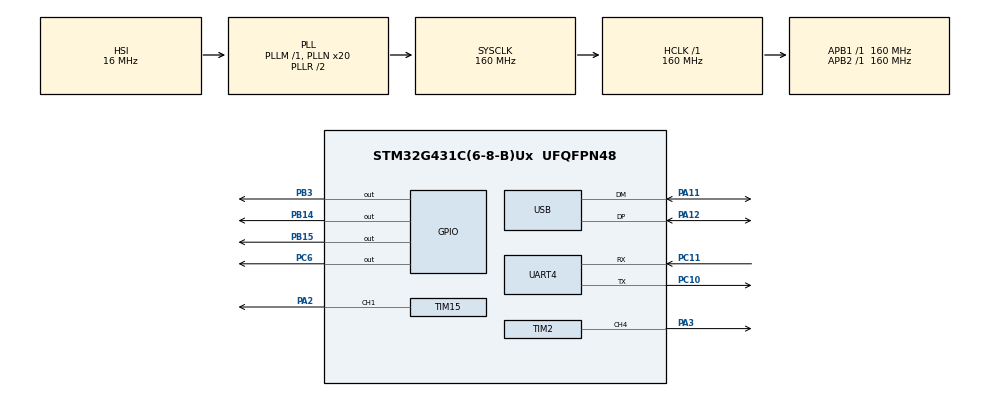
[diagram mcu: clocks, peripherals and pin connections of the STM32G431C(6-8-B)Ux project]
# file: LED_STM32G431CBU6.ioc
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Dma.Request0=TIM15_CH1
Dma.Request1=TIM2_CH4
Dma.Request2=UART4_RX
Dma.TIM15_CH1.0.Direction=DMA_MEMORY_TO_PERIPH
Dma.TIM15_CH1.0.EventEnable=DISABLE
Dma.TIM15_CH1.0.Instance=DMA1_Channel1
Dma.TIM15_CH1.0.MemDataAlignment=DMA_MDATAALIGN_HALFWORD
Dma.TIM15_CH1.0.MemInc=DMA_MINC_ENABLE
Dma.TIM15_CH1.0.Mode=DMA_NORMAL
Dma.TIM15_CH1.0.PeriphDataAlignment=DMA_PDATAALIGN_HALFWORD
Dma.TIM15_CH1.0.PeriphInc=DMA_PINC_DISABLE
Dma.TIM15_CH1.0.Polarity=HAL_DMAMUX_REQ_GEN_RISING
Dma.TIM15_CH1.0.Priority=DMA_PRIORITY_LOW
Dma.TIM15_CH1.0.RequestNumber=1
Dma.TIM15_CH1.0.SignalID=NONE
Dma.TIM15_CH1.0.SyncEnable=DISABLE
Dma.TIM15_CH1.0.SyncPolarity=HAL_DMAMUX_SYNC_NO_EVENT
Dma.TIM15_CH1.0.SyncRequestNumber=1
Dma.TIM15_CH1.0.SyncSignalID=NONE
Dma.TIM2_CH4.1.Direction=DMA_MEMORY_TO_PERIPH
Dma.TIM2_CH4.1.EventEnable=DISABLE
Dma.TIM2_CH4.1.Instance=DMA1_Channel2
Dma.TIM2_CH4.1.MemDataAlignment=DMA_MDATAALIGN_WORD
Dma.TIM2_CH4.1.MemInc=DMA_MINC_ENABLE
Dma.TIM2_CH4.1.Mode=DMA_NORMAL
Dma.TIM2_CH4.1.PeriphDataAlignment=DMA_PDATAALIGN_WORD
Dma.TIM2_CH4.1.PeriphInc=DMA_PINC_DISABLE
Dma.TIM2_CH4.1.Polarity=HAL_DMAMUX_REQ_GEN_RISING
Dma.TIM2_CH4.1.Priority=DMA_PRIORITY_LOW
Dma.TIM2_CH4.1.RequestNumber=1
Dma.TIM2_CH4.1.SignalID=NONE
Dma.TIM2_CH4.1.SyncEnable=DISABLE
Dma.TIM2_CH4.1.SyncPolarity=HAL_DMAMUX_SYNC_NO_EVENT
Dma.TIM2_CH4.1.SyncRequestNumber=1
Dma.TIM2_CH4.1.SyncSignalID=NONE
Dma.UART4_RX.2.Direction=DMA_PERIPH_TO_MEMORY
Dma.UART4_RX.2.EventEnable=DISABLE
Dma.UART4_RX.2.Instance=DMA1_Channel3
Dma.UART4_RX.2.MemDataAlignment=DMA_MDATAALIGN_BYTE
Dma.UART4_RX.2.MemInc=DMA_MINC_ENABLE
Dma.UART4_RX.2.Mode=DMA_NORMAL
Dma.UART4_RX.2.PeriphDataAlignment=DMA_PDATAALIGN_BYTE
Dma.UART4_RX.2.PeriphInc=DMA_PINC_DISABLE
Dma.UART4_RX.2.Polarity=HAL_DMAMUX_REQ_GEN_RISING
Dma.UART4_RX.2.Priority=DMA_PRIORITY_MEDIUM
Dma.UART4_RX.2.RequestNumber=1
Dma.UART4_RX.2.SignalID=NONE
Dma.UART4_RX.2.SyncEnable=DISABLE
Dma.UART4_RX.2.SyncPolarity=HAL_DMAMUX_SYNC_NO_EVENT
Dma.UART4_RX.2.SyncRequestNumber=1
Dma.UART4_RX.2.SyncSignalID=NONE
Mcu.Family=STM32G4
Mcu.Name=STM32G431C(6-8-B)Ux
Mcu.Package=UFQFPN48
NVIC.DMA1_Channel1_IRQn=true\:0\:0\:false\:false\:true\:false\:true\:true
NVIC.DMA1_Channel2_IRQn=true\:0\:0\:false\:false\:true\:false\:true\:true
NVIC.DMA1_Channel3_IRQn=true\:0\:0\:false\:false\:true\:false\:true\:true
NVIC.PriorityGroup=NVIC_PRIORITYGROUP_4
NVIC.TIM1_BRK_TIM15_IRQn=true\:0\:0\:false\:false\:true\:true\:true\:true
NVIC.TIM2_IRQn=true\:0\:0\:false\:false\:true\:true\:true\:true
NVIC.TIM6_DAC_IRQn=true\:0\:0\:false\:false\:true\:true\:true\:true
NVIC.UART4_IRQn=true\:0\:0\:false\:false\:true\:true\:true\:true
PA11.Mode=Device
PA11.Signal=USB_DM
PA12.Mode=Device
PA12.Signal=USB_DP
PA13.Mode=Serial_Wire
PA13.Signal=SYS_JTMS-SWDIO
PA14.Mode=Serial_Wire
PA14.Signal=SYS_JTCK-SWCLK
PA2.Signal=S_TIM15_CH1
PA3.Signal=S_TIM2_CH4
PB14.GPIO_PuPd=GPIO_PULLDOWN
PB14.GPIO_Speed=GPIO_SPEED_FREQ_HIGH
PB14.Signal=GPIO_Output
PB15.GPIO_PuPd=GPIO_PULLDOWN
PB15.GPIO_Speed=GPIO_SPEED_FREQ_HIGH
PB15.Signal=GPIO_Output
PB3.GPIO_PuPd=GPIO_PULLDOWN
PB3.GPIO_Speed=GPIO_SPEED_FREQ_HIGH
PB3.Signal=GPIO_Output
PC10.Mode=Asynchronous
PC10.Signal=UART4_TX
PC11.Mode=Asynchronous
PC11.Signal=UART4_RX
PC6.GPIO_PuPd=GPIO_PULLDOWN
PC6.GPIO_Speed=GPIO_SPEED_FREQ_HIGH
PC6.Signal=GPIO_Output
PF0-OSC_IN.Mode=HSE-External-Oscillator
PF0-OSC_IN.Signal=RCC_OSC_IN
PF1-OSC_OUT.Mode=HSE-External-Oscillator
PF1-OSC_OUT.Signal=RCC_OSC_OUT
ProjectManager.HeapSize=0x200
ProjectManager.StackSize=0x400
ProjectManager.TargetToolchain=STM32CubeIDE
RCC.ADC12Freq_Value=160000000
RCC.AHBFreq_Value=160000000
RCC.APB1Freq_Value=160000000
RCC.APB1TimFreq_Value=160000000
RCC.APB2Freq_Value=160000000
RCC.APB2TimFreq_Value=160000000
RCC.CK48CLockSelection=RCC_USBCLKSOURCE_HSI48
RCC.CortexFreq_Value=160000000
RCC.EXTERNAL_CLOCK_VALUE=12288000
RCC.HCLKFreq_Value=160000000
RCC.HSE_VALUE=8000000
RCC.HSI48_VALUE=48000000
RCC.HSI_VALUE=16000000
RCC.LSE_VALUE=32768
RCC.PLLN=20
RCC.PLLQ=RCC_PLLQ_DIV4
RCC.SYSCLKFreq_VALUE=160000000
RCC.SYSCLKSource=RCC_SYSCLKSOURCE_PLLCLK
RCC.USBFreq_Value=48000000
RCC.VCOOutputFreq_Value=320000000
SH.S_TIM15_CH1.0=TIM15_CH1,PWM Generation1 CH1
SH.S_TIM2_CH4.0=TIM2_CH4,PWM Generation4 CH4
TIM15.Channel-PWM\ Generation1\ CH1=TIM_CHANNEL_1
TIM15.PeriodNoDither=100-1
TIM15.Prescaler=1
TIM2.Channel-PWM\ Generation4\ CH4=TIM_CHANNEL_4
TIM2.PeriodNoDither=100-1
TIM2.Prescaler=1
TIM2.PulseNoDither_4=33
TIM6.PeriodNoDither=999
TIM6.Prescaler=159
VP_SYS_VS_DBSignals.Mode=DisableDeadBatterySignals
VP_TIM15_VS_ClockSourceINT.Mode=Internal
VP_TIM2_VS_ClockSourceINT.Mode=Internal
VP_TIM6_VS_ClockSourceINT.Mode=Enable_Timer
board=custom

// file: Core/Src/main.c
/* USER CODE BEGIN Header */
/**
  ******************************************************************************
  * @file           : main.c
  * @brief          : Main program body
  ******************************************************************************
  * @attention
  *
  * Copyright (c) 2026 STMicroelectronics.
  * All rights reserved.
  *
  * This software is licensed under terms that can be found in the LICENSE file
  * in the root directory of this software component.
  * If no LICENSE file comes with this software, it is provided AS-IS.
  *
  ******************************************************************************
  */
/* USER CODE END Header */
#include "main.h"

/* USER CODE BEGIN Includes */
#include "ws2812.h"
#include <string.h>
/* USER CODE END Includes */

/* USER CODE BEGIN PD */
#define RS485_HEADER       0x55AA
#define RS485_RX_BUF_SIZE  32
#define UART_TIMEOUT_MS    10000   /* 10 seconds - timeout to detect USB disconnection */
#define WATCHDOG_TIMEOUT_MS 2000   /* 2 second watchdog - reset if main loop hangs */
/* USER CODE END PD */

TIM_HandleTypeDef htim2;
TIM_HandleTypeDef htim6;
TIM_HandleTypeDef htim15;
DMA_HandleTypeDef hdma_tim2_ch4;
DMA_HandleTypeDef hdma_tim15_ch1;

UART_HandleTypeDef huart4;
DMA_HandleTypeDef hdma_uart4_rx;

PCD_HandleTypeDef hpcd_USB_FS;

/* USER CODE BEGIN PV */
static WS2812_t LED_channel_A;  /* TIM15_CH1 on PA2 */
static WS2812_t LED_channel_B;  /* TIM2_CH4  on PA3 */

static volatile uint32_t ms_cnt = 0;
static volatile uint8_t led_flag = 0;

static uint8_t rs485_rx_buf[RS485_RX_BUF_SIZE];
static volatile uint32_t last_uart_rx_time = 0;  /* Timestamp of last successful UART reception */
static volatile uint8_t uart_recovery_needed = 0;  /* Flag to trigger UART recovery */
static volatile uint32_t uart_packet_count = 0;  /* Debug: count received packets */
static volatile uint32_t last_main_loop_tick = 0;  /* Watchdog: last main loop tick */

#define NUM_LEDS_CH_A  200
#define NUM_LEDS_CH_B  200
/* USER CODE END PV */

void SystemClock_Config(void);
static void MX_GPIO_Init(void);
static void MX_DMA_Init(void);
static void MX_TIM6_Init(void);
static void MX_TIM15_Init(void);
static void MX_TIM2_Init(void);
static void MX_UART4_Init(void);
static void MX_USB_PCD_Init(void);

int main(void)
{

  /* MCU Configuration--------------------------------------------------------*/

  /* Reset of all peripherals, Initializes the Flash interface and the Systick. */
  HAL_Init();

  /* Configure the system clock */
  SystemClock_Config();

  /* Initialize all configured peripherals */
  MX_GPIO_Init();
  MX_DMA_Init();
  MX_TIM6_Init();
  MX_TIM15_Init();
  MX_TIM2_Init();
  MX_UART4_Init();
  MX_USB_PCD_Init();
  /* USER CODE BEGIN 2 */

  /* Channel A: TIM15_CH1 (PA2) */
  WS2812_Init(&LED_channel_A, &htim15, TIM_CHANNEL_1, NUM_LEDS_CH_A);
  WS2812_SetColor(&LED_channel_A, 1, 1, 120);   /* Blue dominant */
  HAL_Delay(1);
  WS2812_Update(&LED_channel_A);

  /* Channel B: TIM2_CH4 (PA3) */
  WS2812_Init(&LED_channel_B, &htim2, TIM_CHANNEL_4, NUM_LEDS_CH_B);
  WS2812_SetColor(&LED_channel_B, 1, 1, 120);   /* Red dominant */
  HAL_Delay(1);
  WS2812_Update(&LED_channel_B);

  /* Start TIM6 in interrupt mode for 1 ms periodic tick */
  HAL_TIM_Base_Start_IT(&htim6);

  /* RS485 direction pin PA11: output push-pull, default LOW (receive mode) */
  {
    GPIO_InitTypeDef gpio = {0};
    gpio.Pin   = GPIO_PIN_11;
    gpio.Mode  = GPIO_MODE_OUTPUT_PP;
    gpio.Pull  = GPIO_PULLDOWN;
    gpio.Speed = GPIO_SPEED_FREQ_HIGH;
    HAL_GPIO_Init(GPIOA, &gpio);
    HAL_GPIO_WritePin(GPIOA, GPIO_PIN_11, GPIO_PIN_RESET);  /* RX mode */
  }

  /* Initialize last UART RX time to current time (prevents immediate timeout) */
  last_uart_rx_time = 0;

  /* Start UART4 DMA receive with idle-line detection */
  HAL_UARTEx_ReceiveToIdle_DMA(&huart4, rs485_rx_buf, RS485_RX_BUF_SIZE);

  /* Initialize watchdog tick */
  last_main_loop_tick = 0;

  /* USER CODE END 2 */

  /* Infinite loop */
  while (1)
  {

    /* USER CODE BEGIN 3 */

    /* Refresh watchdog - this prevents auto-reset */
    last_main_loop_tick = ms_cnt;

    /* Check if main loop has stalled (watchdog trigger) */
    if ((ms_cnt - last_main_loop_tick) > WATCHDOG_TIMEOUT_MS)
    {
      /* Main loop stalled for 2 seconds - attempt emergency recovery */
      /* Stop DMA */
      HAL_UART_DMAStop(&huart4);

      /* Clear flags */
      __HAL_UART_CLEAR_FEFLAG(&huart4);
      __HAL_UART_CLEAR_NEFLAG(&huart4);
      __HAL_UART_CLEAR_OREFLAG(&huart4);
      __HAL_UART_CLEAR_PEFLAG(&huart4);

      /* Wait a bit */
      HAL_Delay(50);

      /* Clear buffer */
      memset(rs485_rx_buf, 0, RS485_RX_BUF_SIZE);

      /* Restart */
      HAL_UARTEx_ReceiveToIdle_DMA(&huart4, rs485_rx_buf, RS485_RX_BUF_SIZE);

      /* Reset counters */
      last_uart_rx_time = ms_cnt;
      last_main_loop_tick = ms_cnt;
    }

    /* Only do recovery if explicitly flagged by error callback */
    /* This prevents disrupting USB CDC with unnecessary resets */
    if (uart_recovery_needed)
    {
      /* UART error detected, attempt graceful recovery */
      uart_recovery_needed = 0;

      /* Stop current DMA reception */
      HAL_UART_DMAStop(&huart4);

      /* Clear any error flags */
      __HAL_UART_CLEAR_FEFLAG(&huart4);
      __HAL_UART_CLEAR_NEFLAG(&huart4);
      __HAL_UART_CLEAR_OREFLAG(&huart4);
      __HAL_UART_CLEAR_PEFLAG(&huart4);

      /* Small delay before re-arming */
      HAL_Delay(10);

      /* Clear RX buffer */
      memset(rs485_rx_buf, 0, RS485_RX_BUF_SIZE);

      /* Restart DMA receive */
      HAL_UARTEx_ReceiveToIdle_DMA(&huart4, rs485_rx_buf, RS485_RX_BUF_SIZE);

      /* Reset timeout counter */
      last_uart_rx_time = ms_cnt;
    }

    /* Check for extended timeout (device really disconnected) */
    if ((ms_cnt - last_uart_rx_time) > UART_TIMEOUT_MS)
    {
      /* No data for 10 seconds - assume real disconnection */
      /* Just log it but don't disrupt UART (user will check manually) */
      last_uart_rx_time = ms_cnt;  /* Reset timer to avoid repeated resets */
    }

    if (led_flag)
    {
      WS2812_Update(&LED_channel_A);
      WS2812_Update(&LED_channel_B);

      HAL_GPIO_TogglePin(GPIOB, GPIO_PIN_14);
      HAL_GPIO_TogglePin(GPIOB, GPIO_PIN_15);
      HAL_GPIO_TogglePin(GPIOC, GPIO_PIN_6);
      led_flag = 0;
    }
  }
  /* USER CODE END 3 */
}

/* ... (other functions remain the same: SystemClock_Config, MX_TIM2_Init, etc.) ... */

/* USER CODE BEGIN 4 */

/**
  * @brief  Period elapsed callback (TIM6 fires every 1 ms).
  */
void HAL_TIM_PeriodElapsedCallback(TIM_HandleTypeDef *htim)
{
  if (htim->Instance == TIM6)
  {
    if (++ms_cnt % 5000 == 0)
      led_flag = 1;
  }
}

/**
  * @brief  PWM DMA transfer complete callback.
  *         Stops PWM+DMA so the WS2812 line stays low (reset).
  */
void HAL_TIM_PWM_PulseFinishedCallback(TIM_HandleTypeDef *htim)
{
  WS2812_DMACompleteCallback(htim);
}

/**
  * @brief  UART Rx event callback (idle-line detected after DMA reception).
  *         Parses the RS485 protocol and updates LED colors with timeout recovery.
  */
void HAL_UARTEx_RxEventCallback(UART_HandleTypeDef *huart, uint16_t Size)
{
  if (huart->Instance == UART4)
  {
    /* Update last RX time - connection is alive */
    last_uart_rx_time = ms_cnt;

    /* Watchdog refresh */
    last_main_loop_tick = ms_cnt;

    /* Only process if we have complete packet: 0xAA 0x55 + CH + R + G + B + CRC = 7 bytes min */
    if (Size >= 7 && Size <= RS485_RX_BUF_SIZE)
    {
      /* Scan buffer for 0xAA 0x55 header - safely check boundaries */
      uint8_t start_idx = 0xFF;

      for (uint16_t i = 0; i <= (Size - 7); i++)
      {
        if (rs485_rx_buf[i] == 0xAA && rs485_rx_buf[i + 1] == 0x55)
        {
          start_idx = i;
          break;
        }
      }

      if (start_idx != 0xFF)
      {
        /* Packet format: [0xAA][0x55][CHANNEL][R][G][B][CHECKSUM] */
        uint8_t channel = rs485_rx_buf[start_idx + 2];
        uint8_t R = rs485_rx_buf[start_idx + 3];
        uint8_t G = rs485_rx_buf[start_idx + 4];
        uint8_t B = rs485_rx_buf[start_idx + 5];
        uint8_t received_crc = rs485_rx_buf[start_idx + 6];

        /* Calculate checksum: sum of [channel, R, G, B] */
        uint8_t calculated_crc = (channel + R + G + B) & 0xFF;

        /* Verify checksum and channel validity */
        if (calculated_crc == received_crc && (channel == 1 || channel == 2))
        {
          /* Valid packet - increment counter for diagnostics */
          uart_packet_count++;

          /* Apply color changes */
          WS2812_SetColor(&LED_channel_A, R, G, B);
          WS2812_Update(&LED_channel_A);
          WS2812_SetColor(&LED_channel_B, R, G, B);
          WS2812_Update(&LED_channel_B);
        }
      }
    }

    /* Clear buffer completely before re-arming */
    memset(rs485_rx_buf, 0, RS485_RX_BUF_SIZE);

    /* Re-arm DMA receive - MUST be done every time */
    /* If this fails, the error callback will trigger recovery */
    HAL_UARTEx_ReceiveToIdle_DMA(&huart4, rs485_rx_buf, RS485_RX_BUF_SIZE);
  }
}

/**
  * @brief  UART error callback - triggers graceful recovery.
  */
void HAL_UART_ErrorCallback(UART_HandleTypeDef *huart)
{
  if (huart->Instance == UART4)
  {
    /* Set recovery flag - recovery will be handled in main loop */
    uart_recovery_needed = 1;
  }
}

/**
  * @brief System Clock Configuration
  * @retval None
  */
void SystemClock_Config(void)
{
  RCC_OscInitTypeDef RCC_OscInitStruct = {0};
  RCC_ClkInitTypeDef RCC_ClkInitStruct = {0};

  /** Configure the main internal regulator output voltage
  */
  HAL_PWREx_ControlVoltageScaling(PWR_REGULATOR_VOLTAGE_SCALE1_BOOST);

  /** Initializes the RCC Oscillators according to the specified parameters
  * in the RCC_OscInitTypeDef structure.
  */
  RCC_OscInitStruct.OscillatorType = RCC_OSCILLATORTYPE_HSI|RCC_OSCILLATORTYPE_HSI48;
  RCC_OscInitStruct.HSIState = RCC_HSI_ON;
  RCC_OscInitStruct.HSICalibrationValue = RCC_HSICALIBRATION_DEFAULT;
  RCC_OscInitStruct.HSI48State = RCC_HSI48_ON;
  RCC_OscInitStruct.PLL.PLLState = RCC_PLL_ON;
  RCC_OscInitStruct.PLL.PLLSource = RCC_PLLSOURCE_HSI;
  RCC_OscInitStruct.PLL.PLLM = RCC_PLLM_DIV1;
  RCC_OscInitStruct.PLL.PLLN = 20;
  RCC_OscInitStruct.PLL.PLLP = RCC_PLLP_DIV2;
  RCC_OscInitStruct.PLL.PLLQ = RCC_PLLQ_DIV4;
  RCC_OscInitStruct.PLL.PLLR = RCC_PLLR_DIV2;
  if (HAL_RCC_OscConfig(&RCC_OscInitStruct) != HAL_OK)
  {
    Error_Handler();
  }

  /** Initializes the CPU, AHB and APB buses clocks
  */
  RCC_ClkInitStruct.ClockType = RCC_CLOCKTYPE_HCLK|RCC_CLOCKTYPE_SYSCLK
                              |RCC_CLOCKTYPE_PCLK1|RCC_CLOCKTYPE_PCLK2;
  RCC_ClkInitStruct.SYSCLKSource = RCC_SYSCLKSOURCE_PLLCLK;
  RCC_ClkInitStruct.AHBCLKDivider = RCC_SYSCLK_DIV1;
  RCC_ClkInitStruct.APB1CLKDivider = RCC_HCLK_DIV1;
  RCC_ClkInitStruct.APB2CLKDivider = RCC_HCLK_DIV1;

  if (HAL_RCC_ClockConfig(&RCC_ClkInitStruct, FLASH_LATENCY_4) != HAL_OK)
  {
    Error_Handler();
  }
}

/**
  * @brief TIM2 Initialization Function
  * @param None
  * @retval None
  */
static void MX_TIM2_Init(void)
{

  /* USER CODE BEGIN TIM2_Init 0 */

  /* USER CODE END TIM2_Init 0 */

  TIM_ClockConfigTypeDef sClockSourceConfig = {0};
  TIM_MasterConfigTypeDef sMasterConfig = {0};
  TIM_OC_InitTypeDef sConfigOC = {0};

  /* USER CODE BEGIN TIM2_Init 1 */

  /* USER CODE END TIM2_Init 1 */
  htim2.Instance = TIM2;
  htim2.Init.Prescaler = 1;
  htim2.Init.CounterMode = TIM_COUNTERMODE_UP;
  htim2.Init.Period = 99;
  htim2.Init.ClockDivision = TIM_CLOCKDIVISION_DIV1;
  htim2.Init.AutoReloadPreload = TIM_AUTORELOAD_PRELOAD_DISABLE;
  if (HAL_TIM_Base_Init(&htim2) != HAL_OK)
  {
    Error_Handler();
  }
  sClockSourceConfig.ClockSource = TIM_CLOCKSOURCE_INTERNAL;
  if (HAL_TIM_ConfigClockSource(&htim2, &sClockSourceConfig) != HAL_OK)
  {
    Error_Handler();
  }
  if (HAL_TIM_PWM_Init(&htim2) != HAL_OK)
  {
    Error_Handler();
  }
  sMasterConfig.MasterOutputTrigger = TIM_TRGO_RESET;
  sMasterConfig.MasterSlaveMode = TIM_MASTERSLAVEMODE_DISABLE;
  if (HAL_TIMEx_MasterConfigSynchronization(&htim2, &sMasterConfig) != HAL_OK)
  {
    Error_Handler();
  }
  sConfigOC.OCMode = TIM_OCMODE_PWM1;
  sConfigOC.Pulse = 33;
  sConfigOC.OCPolarity = TIM_OCPOLARITY_HIGH;
  sConfigOC.OCFastMode = TIM_OCFAST_DISABLE;
  if (HAL_TIM_PWM_ConfigChannel(&htim2, &sConfigOC, TIM_CHANNEL_4) != HAL_OK)
  {
    Error_Handler();
  }
  /* USER CODE BEGIN TIM2_Init 2 */

  /* USER CODE END TIM2_Init 2 */
  HAL_TIM_MspPostInit(&htim2);

}

/**
  * @brief TIM6 Initialization Function
  * @param None
  * @retval None
  */
static void MX_TIM6_Init(void)
{

  /* USER CODE BEGIN TIM6_Init 0 */

  /* USER CODE END TIM6_Init 0 */

  TIM_MasterConfigTypeDef sMasterConfig = {0};

  /* USER CODE BEGIN TIM6_Init 1 */

  /* USER CODE END TIM6_Init 1 */
  htim6.Instance = TIM6;
  htim6.Init.Prescaler = 159;
  htim6.Init.CounterMode = TIM_COUNTERMODE_UP;
  htim6.Init.Period = 999;
  htim6.Init.AutoReloadPreload = TIM_AUTORELOAD_PRELOAD_DISABLE;
  if (HAL_TIM_Base_Init(&htim6) != HAL_OK)
  {
    Error_Handler();
  }
  sMasterConfig.MasterOutputTrigger = TIM_TRGO_RESET;
  sMasterConfig.MasterSlaveMode = TIM_MASTERSLAVEMODE_DISABLE;
  if (HAL_TIMEx_MasterConfigSynchronization(&htim6, &sMasterConfig) != HAL_OK)
  {
    Error_Handler();
  }
  /* USER CODE BEGIN TIM6_Init 2 */

  /* USER CODE END TIM6_Init 2 */

}

/**
  * @brief TIM15 Initialization Function
  * @param None
  * @retval None
  */
static void MX_TIM15_Init(void)
{

  /* USER CODE BEGIN TIM15_Init 0 */

  /* USER CODE END TIM15_Init 0 */

  TIM_ClockConfigTypeDef sClockSourceConfig = {0};
  TIM_MasterConfigTypeDef sMasterConfig = {0};
  TIM_OC_InitTypeDef sConfigOC = {0};
  TIM_BreakDeadTimeConfigTypeDef sBreakDeadTimeConfig = {0};

  /* USER CODE BEGIN TIM15_Init 1 */

  /* USER CODE END TIM15_Init 1 */
  htim15.Instance = TIM15;
  htim15.Init.Prescaler = 1;
  htim15.Init.CounterMode = TIM_COUNTERMODE_UP;
  htim15.Init.Period = 99;
  htim15.Init.ClockDivision = TIM_CLOCKDIVISION_DIV1;
  htim15.Init.RepetitionCounter = 0;
  htim15.Init.AutoReloadPreload = TIM_AUTORELOAD_PRELOAD_DISABLE;
  if (HAL_TIM_Base_Init(&htim15) != HAL_OK)
  {
    Error_Handler();
  }
  sClockSourceConfig.ClockSource = TIM_CLOCKSOURCE_INTERNAL;
  if (HAL_TIM_ConfigClockSource(&htim15, &sClockSourceConfig) != HAL_OK)
  {
    Error_Handler();
  }
  if (HAL_TIM_PWM_Init(&htim15) != HAL_OK)
  {
    Error_Handler();
  }
  sMasterConfig.MasterOutputTrigger = TIM_TRGO_RESET;
  sMasterConfig.MasterSlaveMode = TIM_MASTERSLAVEMODE_DISABLE;
  if (HAL_TIMEx_MasterConfigSynchronization(&htim15, &sMasterConfig) != HAL_OK)
  {
    Error_Handler();
  }
  sConfigOC.OCMode = TIM_OCMODE_PWM1;
  sConfigOC.Pulse = 0;
  sConfigOC.OCPolarity = TIM_OCPOLARITY_HIGH;
  sConfigOC.OCNPolarity = TIM_OCNPOLARITY_HIGH;
  sConfigOC.OCFastMode = TIM_OCFAST_DISABLE;
  sConfigOC.OCIdleState = TIM_OCIDLESTATE_RESET;
  sConfigOC.OCNIdleState = TIM_OCNIDLESTATE_RESET;
  if (HAL_TIM_PWM_ConfigChannel(&htim15, &sConfigOC, TIM_CHANNEL_1) != HAL_OK)
  {
    Error_Handler();
  }
  sBreakDeadTimeConfig.OffStateRunMode = TIM_OSSR_DISABLE;
  sBreakDeadTimeConfig.OffStateIDLEMode = TIM_OSSI_DISABLE;
  sBreakDeadTimeConfig.LockLevel = TIM_LOCKLEVEL_OFF;
  sBreakDeadTimeConfig.DeadTime = 0;
  sBreakDeadTimeConfig.BreakState = TIM_BREAK_DISABLE;
  sBreakDeadTimeConfig.BreakPolarity = TIM_BREAKPOLARITY_HIGH;
  sBreakDeadTimeConfig.BreakFilter = 0;
  sBreakDeadTimeConfig.AutomaticOutput = TIM_AUTOMATICOUTPUT_DISABLE;
  if (HAL_TIMEx_ConfigBreakDeadTime(&htim15, &sBreakDeadTimeConfig) != HAL_OK)
  {
    Error_Handler();
  }
  /* USER CODE BEGIN TIM15_Init 2 */

  /* USER CODE END TIM15_Init 2 */
  HAL_TIM_MspPostInit(&htim15);

}

/**
  * @brief UART4 Initialization Function
  * @param None
  * @retval None
  */
static void MX_UART4_Init(void)
{

  /* USER CODE BEGIN UART4_Init 0 */

  /* USER CODE END UART4_Init 0 */

  /* USER CODE BEGIN UART4_Init 1 */

  /* USER CODE END UART4_Init 1 */
  huart4.Instance = UART4;
  huart4.Init.BaudRate = 115200;
  huart4.Init.WordLength = UART_WORDLENGTH_8B;
  huart4.Init.StopBits = UART_STOPBITS_1;
  huart4.Init.Parity = UART_PARITY_NONE;
  huart4.Init.Mode = UART_MODE_TX_RX;
  huart4.Init.HwFlowCtl = UART_HWCONTROL_NONE;
  huart4.Init.OverSampling = UART_OVERSAMPLING_16;
  huart4.Init.OneBitSampling = UART_ONE_BIT_SAMPLE_DISABLE;
  huart4.Init.ClockPrescaler = UART_PRESCALER_DIV1;
  huart4.AdvancedInit.AdvFeatureInit = UART_ADVFEATURE_NO_INIT;
  if (HAL_UART_Init(&huart4) != HAL_OK)
  {
    Error_Handler();
  }
  if (HAL_UARTEx_SetTxFifoThreshold(&huart4, UART_TXFIFO_THRESHOLD_1_8) != HAL_OK)
  {
    Error_Handler();
  }
  if (HAL_UARTEx_SetRxFifoThreshold(&huart4, UART_RXFIFO_THRESHOLD_1_8) != HAL_OK)
  {
    Error_Handler();
  }
  if (HAL_UARTEx_DisableFifoMode(&huart4) != HAL_OK)
  {
    Error_Handler();
  }
  /* USER CODE BEGIN UART4_Init 2 */

  /* USER CODE END UART4_Init 2 */

}

/**
  * @brief USB Initialization Function
  * @param None
  * @retval None
  */
static void MX_USB_PCD_Init(void)
{

  /* USER CODE BEGIN USB_Init 0 */

  /* USER CODE END USB_Init 0 */

  /* USER CODE BEGIN USB_Init 1 */

  /* USER CODE END USB_Init 1 */
  hpcd_USB_FS.Instance = USB;
  hpcd_USB_FS.Init.dev_endpoints = 8;
  hpcd_USB_FS.Init.speed = PCD_SPEED_FULL;
  hpcd_USB_FS.Init.phy_itface = PCD_PHY_EMBEDDED;
  hpcd_USB_FS.Init.Sof_enable = DISABLE;
  hpcd_USB_FS.Init.low_power_enable = DISABLE;
  hpcd_USB_FS.Init.lpm_enable = DISABLE;
  hpcd_USB_FS.Init.battery_charging_enable = DISABLE;
  if (HAL_PCD_Init(&hpcd_USB_FS) != HAL_OK)
  {
    Error_Handler();
  }
  /* USER CODE BEGIN USB_Init 2 */

  /* USER CODE END USB_Init 2 */

}

/**
  * Enable DMA controller clock
  */
static void MX_DMA_Init(void)
{

  /* DMA controller clock enable */
  __HAL_RCC_DMAMUX1_CLK_ENABLE();
  __HAL_RCC_DMA1_CLK_ENABLE();

  /* DMA interrupt init */
  /* DMA1_Channel1_IRQn interrupt configuration */
  HAL_NVIC_SetPriority(DMA1_Channel1_IRQn, 0, 0);
  HAL_NVIC_EnableIRQ(DMA1_Channel1_IRQn);
  /* DMA1_Channel2_IRQn interrupt configuration */
  HAL_NVIC_SetPriority(DMA1_Channel2_IRQn, 0, 0);
  HAL_NVIC_EnableIRQ(DMA1_Channel2_IRQn);
  /* DMA1_Channel3_IRQn interrupt configuration */
  HAL_NVIC_SetPriority(DMA1_Channel3_IRQn, 0, 0);
  HAL_NVIC_EnableIRQ(DMA1_Channel3_IRQn);

}

/**
  * @brief GPIO Initialization Function
  * @param None
  * @retval None
  */
static void MX_GPIO_Init(void)
{
  GPIO_InitTypeDef GPIO_InitStruct = {0};
/* USER CODE BEGIN MX_GPIO_Init_1 */
/* USER CODE END MX_GPIO_Init_1 */

  /* GPIO Ports Clock Enable */
  __HAL_RCC_GPIOF_CLK_ENABLE();
  __HAL_RCC_GPIOA_CLK_ENABLE();
  __HAL_RCC_GPIOB_CLK_ENABLE();
  __HAL_RCC_GPIOC_CLK_ENABLE();

  /*Configure GPIO pin Output Level */
  HAL_GPIO_WritePin(GPIOB, GPIO_PIN_14|GPIO_PIN_15|GPIO_PIN_3, GPIO_PIN_RESET);

  /*Configure GPIO pin Output Level */
  HAL_GPIO_WritePin(GPIOC, GPIO_PIN_6, GPIO_PIN_RESET);

  /*Configure GPIO pins : PB14 PB15 PB3 */
  GPIO_InitStruct.Pin = GPIO_PIN_14|GPIO_PIN_15|GPIO_PIN_3;
  GPIO_InitStruct.Mode = GPIO_MODE_OUTPUT_PP;
  GPIO_InitStruct.Pull = GPIO_PULLDOWN;
  GPIO_InitStruct.Speed = GPIO_SPEED_FREQ_HIGH;
  HAL_GPIO_Init(GPIOB, &GPIO_InitStruct);

  /*Configure GPIO pin : PC6 */
  GPIO_InitStruct.Pin = GPIO_PIN_6;
  GPIO_InitStruct.Mode = GPIO_MODE_OUTPUT_PP;
  GPIO_InitStruct.Pull = GPIO_PULLDOWN;
  GPIO_InitStruct.Speed = GPIO_SPEED_FREQ_HIGH;
  HAL_GPIO_Init(GPIOC, &GPIO_InitStruct);

/* USER CODE BEGIN MX_GPIO_Init_2 */
/* USER CODE END MX_GPIO_Init_2 */
}

/* USER CODE BEGIN 4 */

/**
  * @brief  Period elapsed callback (TIM6 fires every 1 ms).
  */
//void HAL_TIM_PeriodElapsedCallback(TIM_HandleTypeDef *htim)
//{
//  if (htim->Instance == TIM6)
//  {
//    if (++ms_cnt % 5000 == 0)
//      led_flag = 1;
//  }
//}
//
///**
//  * @brief  PWM DMA transfer complete callback.
//  *         Stops PWM+DMA so the WS2812 line stays low (reset).
//  */
//void HAL_TIM_PWM_PulseFinishedCallback(TIM_HandleTypeDef *htim)
//{
//  WS2812_DMACompleteCallback(htim);
//}

/**
  * @brief  UART Rx event callback (idle-line detected after DMA reception).
  *         Parses the RS485 protocol and updates LED colors.
  *
  *         Protocol (same as cmake project):
  *           [0:1] Header  0x55 0xAA
  *           [2]   Channel  (1 = ch_A on TIM15, 2 = ch_B on TIM2)
  *           [3]   R
  *           [4]   G
  *           [5]   B
  *           [6]   Checksum  (sum of bytes [2..5], low 8 bits)
  */

//void HAL_UARTEx_RxEventCallback(UART_HandleTypeDef *huart, uint16_t Size)
//{
//  if (huart->Instance == UART4)
//  {
//    /* Update last RX time - connection is alive */
//    last_uart_rx_time = ms_cnt;
//
//    /* Scan buffer for 0xAA 0x55 header (matches Python sender byte order) */
//    uint8_t start_idx = 0xFF;
//    for (uint16_t i = 0; i + 1 < Size; i++)
//    {
//      if (rs485_rx_buf[i] == 0xAA && rs485_rx_buf[i + 1] == 0x55)
//      {
//        start_idx = i;
//        break;
//      }
//    }
//
//    if (start_idx != 0xFF && (start_idx + 7) <= RS485_RX_BUF_SIZE)
//    {
//      /* Validate checksum: sum of bytes [2..5] */
//      uint8_t checksum = 0;
//      for (uint8_t j = start_idx + 2; j < start_idx + 6; j++)
//        checksum += rs485_rx_buf[j];
//
//      if (checksum == rs485_rx_buf[start_idx + 6])
//      {
//        uint8_t channel = rs485_rx_buf[start_idx + 2];
//        uint8_t R = rs485_rx_buf[start_idx + 3];
//        uint8_t G = rs485_rx_buf[start_idx + 4];
//        uint8_t B = rs485_rx_buf[start_idx + 5];
//
//        if (channel == 1 || channel == 2)
//        {
//          WS2812_SetColor(&LED_channel_A, R, G, B);
//          WS2812_Update(&LED_channel_A);
//          WS2812_SetColor(&LED_channel_B, R, G, B);
//          WS2812_Update(&LED_channel_B);
//        }
//      }
//    }
//
//    /* Re-arm DMA receive */
//    HAL_UARTEx_ReceiveToIdle_DMA(&huart4, rs485_rx_buf, RS485_RX_BUF_SIZE);
//  }
//}

/* USER CODE END 4 */

void Error_Handler(void)
{
  __disable_irq();
  while (1)
  {
  }
}
